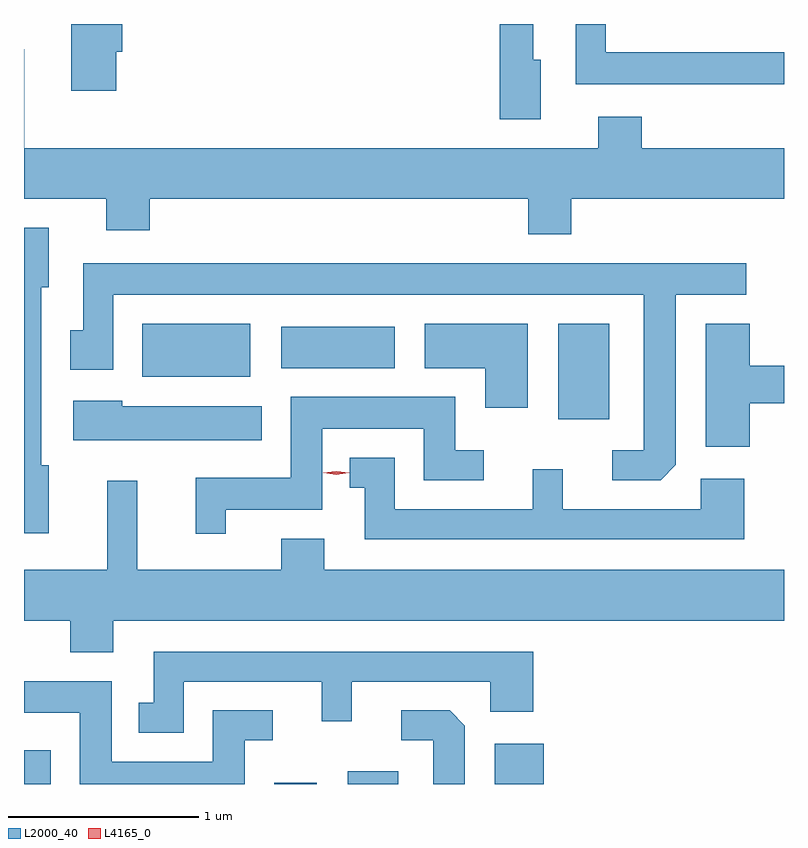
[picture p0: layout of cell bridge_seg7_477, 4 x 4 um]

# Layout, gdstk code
import gdstk
lib = gdstk.Library(unit=1e-6, precision=1e-09)
def R(c, l, rs):  # rectangles x0, y0, x1, y1
    for r in rs: c.add(gdstk.rectangle(r[:2], r[2:], *l))
def P(c, l, *ps):  # polygons
    for p in ps: c.add(gdstk.Polygon(p, *l))
L2000_40 = (2000, 40)
L4165_0 = (4165, 0)

bridge_seg7_477 = lib.new_cell('bridge_seg7_477')
R(bridge_seg7_477, L2000_40, [(1447.108,1722.337,1447.249,1722.514), (1448.426,1722.337,1448.649,1722.344), (1448.811,1722.337,1449.079,1722.404), (1449.586,1722.337,1449.844,1722.549), (1449.921,1724.256,1450.189,1724.759), (1447.731,1724.481,1448.299,1724.759), (1448.461,1724.526,1449.059,1724.744)])
P(bridge_seg7_477, L2000_40, [(1451.108,1726.189),(1450.169,1726.189),(1450.169,1726.337),(1450.011,1726.337),(1450.011,1726.021),(1451.108,1726.021)],
  [(1449.829,1726.149),(1449.789,1726.149),(1449.789,1726.337),(1449.611,1726.337),(1449.611,1725.836),(1449.829,1725.836)],
  [(1447.594,1726.191),(1447.624,1726.191),(1447.624,1726.337),(1447.356,1726.337),(1447.356,1725.986),(1447.594,1725.986)],
  [(1449.989,1725.416),(1451.108,1725.416),(1451.108,1725.684),(1450.359,1725.684),(1450.359,1725.849),(1450.131,1725.849),(1450.131,1725.684),(1447.109,1725.684),(1447.109,1726.204),(1447.108,1726.204),(1447.108,1725.416),(1447.541,1725.416),(1447.541,1725.251),(1447.769,1725.251),(1447.769,1725.416),(1449.761,1725.416),(1449.761,1725.231),(1449.989,1725.231)],
  [(1447.239,1724.014),(1447.199,1724.014),(1447.199,1724.951),(1447.239,1724.951),(1447.239,1725.264),(1447.108,1725.264),(1447.108,1723.656),(1447.239,1723.656)],
  [(1450.539,1724.017),(1450.539,1724.911),(1450.908,1724.911),(1450.908,1725.079),(1447.421,1725.079),(1447.421,1724.724),(1447.351,1724.724),(1447.351,1724.516),(1447.579,1724.516),(1447.579,1724.911),(1450.371,1724.911),(1450.371,1724.094),(1450.203,1724.094),(1450.203,1723.936),(1450.459,1723.936)],
  [(1449.759,1724.759),(1449.216,1724.759),(1449.216,1724.526),(1449.536,1724.526),(1449.536,1724.316),(1449.759,1724.316)],
  [(1450.929,1724.341),(1451.108,1724.341),(1451.108,1724.539),(1450.929,1724.539),(1450.929,1724.759),(1450.696,1724.759),(1450.696,1724.111),(1450.929,1724.111)],
  [(1448.169,1723.781),(1448.679,1723.781),(1448.679,1724.206),(1449.211,1724.206),(1449.211,1723.936),(1449.528,1723.936),(1449.528,1724.094),(1449.379,1724.094),(1449.379,1724.374),(1448.511,1724.374),(1448.511,1723.949),(1448.011,1723.949),(1448.011,1723.653),(1448.169,1723.653)],
  [(1448.359,1724.324),(1447.624,1724.324),(1447.624,1724.354),(1447.366,1724.354),(1447.366,1724.146),(1448.359,1724.146)],
  [(1450.899,1723.944),(1450.671,1723.944),(1450.671,1723.784),(1449.944,1723.784),(1449.944,1723.993),(1449.786,1723.993),(1449.786,1723.784),(1449.059,1723.784),(1449.059,1724.054),(1448.823,1724.054),(1448.823,1723.896),(1448.901,1723.896),(1448.901,1723.626),(1450.899,1723.626)],
  [(1447.579,1723.196),(1451.108,1723.196),(1451.108,1723.464),(1448.689,1723.464),(1448.689,1723.629),(1448.461,1723.629),(1448.461,1723.464),(1447.704,1723.464),(1447.704,1723.933),(1447.546,1723.933),(1447.546,1723.464),(1447.108,1723.464),(1447.108,1723.196),(1447.351,1723.196),(1447.351,1723.031),(1447.579,1723.031)],
  [(1447.949,1722.876),(1448.676,1722.876),(1448.676,1722.668),(1448.834,1722.668),(1448.834,1722.876),(1449.561,1722.876),(1449.561,1722.716),(1449.789,1722.716),(1449.789,1723.034),(1447.791,1723.034),(1447.791,1722.764),(1447.713,1722.764),(1447.713,1722.606),(1447.949,1722.606)],
  [(1448.269,1722.566),(1448.418,1722.566),(1448.418,1722.724),(1448.101,1722.724),(1448.101,1722.454),(1447.569,1722.454),(1447.569,1722.879),(1447.108,1722.879),(1447.108,1722.711),(1447.401,1722.711),(1447.401,1722.337),(1448.269,1722.337)],
  [(1449.429,1722.644),(1449.349,1722.724),(1449.093,1722.724),(1449.093,1722.566),(1449.261,1722.566),(1449.261,1722.337),(1449.429,1722.337)])
P(bridge_seg7_477, L4165_0, [(1448.752,1723.964),(1448.682,1723.974),(1448.682,1723.974),(1448.682,1723.975),(1448.752,1723.984),(1448.821,1723.975),(1448.821,1723.974),(1448.821,1723.974)])

lib.write_gds('bridge_seg7_477.gds')
